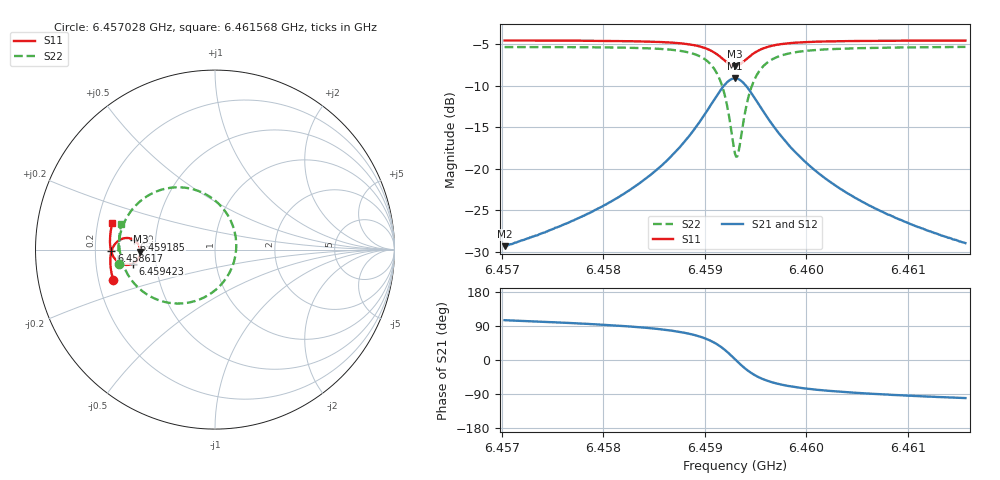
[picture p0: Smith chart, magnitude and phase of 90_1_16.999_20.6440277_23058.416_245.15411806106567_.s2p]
#  HZ  S  RI  R  50.00
! Rohde & Schwarz Vector Network Analyzer
! Rohde-Schwarz,ZNB20-2Port,1311601062101988,3.16
! Created: UTC 3/20/2024, 10:56:05 PM
! freq[Hz]  re:S11  im:S11  re:S21  im:S21  re:S12  im:S12  re:S22  im:S22
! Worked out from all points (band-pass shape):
!   401 points, 6.457028 GHz to 6.461568 GHz, reference 50 ohm
!   highest |S21| = -9.12 dB at 6.459298 GHz (marker M1); lowest = -29.4 dB at 6.457028 GHz (marker M2)
!   |S21| within 3 dB of the highest: 6.459071 GHz to 6.459524 GHz (453.3 kHz wide, 0.00702 % of centre)
!   lowest |S11| = -7.6 dB at 6.459298 GHz (marker M3), VSWR 2.42, Z = 20.7 - j0.536 ohm
!   |S11| at or under -10 dB: nowhere
!   |S22| runs from -18.6 to -5.3 dB; largest |S21 - S12| = 0.014
!   S11 on the Smith chart (normalised r, x): 6.457028 GHz: 0.26, -0.14; 6.458617 GHz: 0.27, -0.01; 6.459185 GHz: 0.38, +0.05; 6.459423 GHz: 0.37, -0.07; 6.461568 GHz: 0.26, +0.12
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6.4570282e9  -0.5672 -0.1696  -0.00884 0.0329  -0.00706 0.0329  -0.5343 -0.0795
6.4577886e9  -0.5807 -0.103  -0.00547 0.051  -0.00283 0.0503  -0.5387 0.0104
6.4582085e9  -0.5835 -0.0606  0.000648 0.0708  0.00399 0.0694  -0.53 0.0776
6.458549e9  -0.5795 -0.0195  0.0149 0.0999  0.0187 0.0971  -0.5037 0.1554
6.4586171e9  -0.5771 -0.0099  0.0202 0.1084  0.0242 0.1051  -0.4934 0.1755
6.4588214e9  -0.563 0.0226  0.0497 0.142  0.0537 0.1367  -0.4382 0.2495
6.4589576e9  -0.5412 0.047  0.0933 0.1704  0.0964 0.1637  -0.3581 0.3093
6.4590938e9  -0.4967 0.0645  0.1817 0.1868  0.1825 0.1795  -0.1965 0.3471
6.4591845e9  -0.4514 0.0538  0.2728 0.1547  0.2731 0.1489  -0.0283 0.2945
6.4592526e9  -0.4219 0.021  0.3336 0.0814  0.3359 0.0763  0.0873 0.1622
6.459298e9  -0.4151 -0.0107  0.3499 0.0125  0.3537 0.00552  0.1185 0.0333
6.4593094e9  -0.4157 -0.0189  0.3494 -0.00556  0.3534 -0.0132  0.1179 -0.00054
6.4593321e9  -0.4192 -0.0348  0.3435 -0.0407  0.3475 -0.0498  0.1059 -0.0672
6.4593775e9  -0.4351 -0.0613  0.3142 -0.1009  0.3164 -0.113  0.0461 -0.1809
6.4594229e9  -0.4575 -0.0778  0.2715 -0.1423  0.2706 -0.1557  -0.0405 -0.2556
6.4595137e9  -0.5016 -0.0848  0.1854 -0.1732  0.1793 -0.1846  -0.2112 -0.3005
6.4596612e9  -0.5459 -0.0643  0.0967 -0.1587  0.0882 -0.165  -0.3798 -0.2495
6.4598201e9  -0.5677 -0.0365  0.0515 -0.1303  0.0439 -0.1331  -0.4603 -0.1763
6.4600584e9  -0.5808 -0.00103  0.0223 -0.0983  0.0165 -0.0989  -0.508 -0.0932
6.4603989e9  -0.5855 0.0398  0.00632 -0.0711  0.00211 -0.0707  -0.5293 -0.0139
6.4608188e9  -0.5836 0.0821  -0.00159 -0.0525  -0.00429 -0.0516  -0.5334 0.0541
6.4615678e9  -0.5719 0.1488  -0.00645 -0.035  -0.00826 -0.034  -0.522 0.1433
